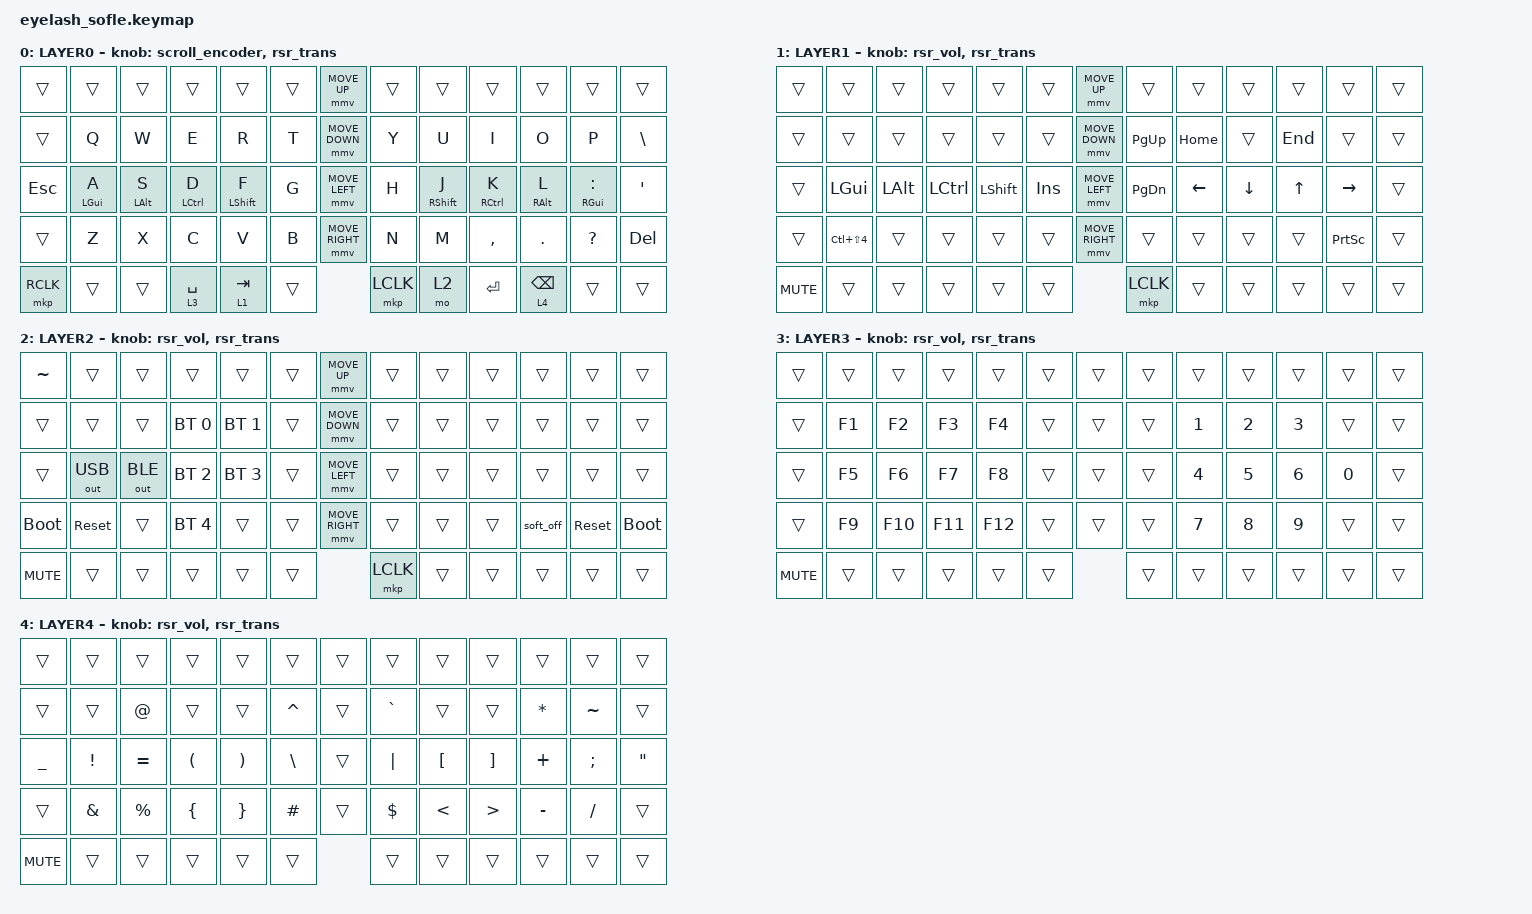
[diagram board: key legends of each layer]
#define ZMK_POINTING_DEFAULT_MOVE_VAL 1200  // 600
#define ZMK_POINTING_DEFAULT_SCRL_VAL 10   // 10

#include <input/processors.dtsi>
#include <zephyr/dt-bindings/input/input-event-codes.h>
#include <behaviors.dtsi>
#include <behaviors/runtime-sensor-rotate.dtsi>
#include <dt-bindings/zmk/bt.h>
#include <dt-bindings/zmk/keys.h>
#include <dt-bindings/zmk/outputs.h>
#include <dt-bindings/zmk/pointing.h>
#include <dt-bindings/zmk/rgb.h>

&mmv_input_listener { input-processors = <&zip_xy_scaler 2 1>; };

&msc_input_listener { input-processors = <&zip_scroll_scaler 1 1>; };

&msc {
    acceleration-exponent = <0>;      // 0
    time-to-max-speed-ms = <300>;       // 300
    delay-ms = <0>;                   // 0
};

&mmv {
    time-to-max-speed-ms = <500>;
    acceleration-exponent = <1>;
    trigger-period-ms = <16>;
};

&soft_off { hold-time-ms = <2000>; };

/ {
    scroll_encoder: scroll_encoder {
        compatible = "zmk,behavior-sensor-rotate";
        #sensor-binding-cells = <0>;
        bindings = <&msc SCRL_DOWN>, <&msc SCRL_UP>;

        tap-ms = <50>;
    };

    behaviors {
        rsr_vol: rsr_vol {
            compatible = "zmk,behavior-runtime-sensor-rotate";
            #sensor-binding-cells = <0>;
            tap-ms = <5>;
            cw-binding = <&kp C_VOL_UP>;
            ccw-binding = <&kp C_VOL_DN>;
        };

        rsr_trans: rsr_trans {
            compatible = "zmk,behavior-runtime-sensor-rotate";
            #sensor-binding-cells = <0>;
            tap-ms = <0>;
        };

        // Home row mods (GACS), positional. Left-hand keys only resolve as a
        // mod when a right-hand/thumb key is pressed, and vice versa.
        hml: home_row_mod_left {
            compatible = "zmk,behavior-hold-tap";
            #binding-cells = <2>;
            flavor = "balanced";
            tapping-term-ms = <200>;
            quick-tap-ms = <175>;
            require-prior-idle-ms = <150>;
            bindings = <&kp>, <&kp>;
            hold-trigger-on-release;
            hold-trigger-key-positions = <6 7 8 9 10 11 12 19 20 21 22 23 24 25 32 33 34 35 36 37 38 45 46 47 48 49 50 51 53 54 55 56 57 58 59 60 61 62 63>;
        };

        hmr: home_row_mod_right {
            compatible = "zmk,behavior-hold-tap";
            #binding-cells = <2>;
            flavor = "balanced";
            tapping-term-ms = <200>;
            quick-tap-ms = <175>;
            require-prior-idle-ms = <150>;
            bindings = <&kp>, <&kp>;
            hold-trigger-on-release;
            hold-trigger-key-positions = <0 1 2 3 4 5 6 13 14 15 16 17 18 19 26 27 28 29 30 31 32 39 40 41 42 43 44 45 53 54 55 56 57 58 59 60 61 62 63>;
        };

        // Layer-tap biased toward tapping, with quick-tap so repeated/held
        // taps auto-repeat (smooth backspace) instead of triggering the layer.
        lt_bspc: layer_tap_backspace {
            compatible = "zmk,behavior-hold-tap";
            #binding-cells = <2>;
            flavor = "tap-preferred";
            tapping-term-ms = <200>;
            quick-tap-ms = <200>;
            require-prior-idle-ms = <125>;
            bindings = <&mo>, <&kp>;
        };
    };

    combos {
        compatible = "zmk,combos";

        softoff {
            bindings = <&soft_off>;
            key-positions = <14 28 40>;
        };

        // Editing combos on the base layer (Z=40 X=41 C=42 V=43)
        combo_cut {
            bindings = <&kp LC(X)>;
            key-positions = <40 41>;   // Z + X
            timeout-ms = <50>;
            layers = <0>;
        };

        combo_copy {
            bindings = <&kp LC(C)>;
            key-positions = <41 42>;   // X + C
            timeout-ms = <50>;
            layers = <0>;
        };

        combo_paste {
            bindings = <&kp LC(V)>;
            key-positions = <42 43>;   // C + V
            timeout-ms = <50>;
            layers = <0>;
        };

        combo_select_all {
            bindings = <&kp LC(A)>;
            key-positions = <40 41 42 43>;   // Z + X + C + V
            timeout-ms = <60>;
            layers = <0>;
        };

        // Destructive BT keys as 3-key column combos (layer 2 only)
        combo_bt_clr {
            bindings = <&bt BT_CLR>;
            key-positions = <18 31 44>;   // T + G + B
            timeout-ms = <50>;
            layers = <2>;
        };

        combo_bt_clr_all {
            bindings = <&bt BT_CLR_ALL>;
            key-positions = <20 33 46>;   // Y + H + N
            timeout-ms = <50>;
            layers = <2>;
        };
    };

    macros {
        SHIFT_MCLK: SHIFT_MCLK {
            compatible = "zmk,behavior-macro";
            #binding-cells = <0>;
            bindings =
                <&macro_press>,
                <&kp LEFT_SHIFT>,
                <&macro_press>,
                <&mkp MB3>,
                <&macro_pause_for_release>,
                <&macro_release>,
                <&kp LEFT_SHIFT &mkp MB3>;

            label = "SHIFT_MCLK";
        };
    };

    keymap {
        compatible = "zmk,keymap";

        layer0 {
            bindings = <
&trans      &trans     &trans        &trans        &trans  &trans       &mmv MOVE_UP     &trans     &trans     &trans     &trans           &trans      &trans
&trans      &kp Q      &kp W         &kp E         &kp R   &kp T        &mmv MOVE_DOWN   &kp Y      &kp U      &kp I      &kp O            &kp P       &kp BSLH
&kp ESC     &hml LGUI A  &hml LALT S  &hml LCTRL D  &hml LSHFT F  &kp G   &mmv MOVE_LEFT   &kp H  &hmr RSHFT J  &hmr RCTRL K  &hmr RALT L  &hmr RGUI COLON  &kp APOS
&trans      &kp Z      &kp X         &kp C         &kp V   &kp B        &mmv MOVE_RIGHT  &kp N      &kp M      &kp COMMA  &kp DOT          &kp QMARK   &kp DELETE
&mkp RCLK   &trans     &trans        &lt 3 SPACE   &lt 1 TAB   &trans       &mkp LCLK        &mo 2  &kp ENTER  &lt_bspc 4 BACKSPACE  &trans           &trans
            >;

            sensor-bindings = <&scroll_encoder &rsr_trans>;
            display-name = "LAYER0";
        };

        layer_1 {
            bindings = <
&trans      &trans           &trans          &trans           &trans           &trans             &mmv MOVE_UP     &trans           &trans           &trans      &trans     &trans            &trans
&trans      &trans           &trans          &trans           &trans           &trans           &mmv MOVE_DOWN   &kp PG_UP        &kp HOME         &trans      &kp END    &trans            &trans
&trans      &kp LGUI         &kp LALT        &kp LCTRL        &kp LSHFT        &kp INSERT       &mmv MOVE_LEFT   &kp PG_DN        &kp LEFT         &kp DOWN    &kp UP     &kp RIGHT         &trans
&trans      &kp LC(LS(N4))   &trans          &trans           &trans           &trans    &mmv MOVE_RIGHT  &trans           &trans  &trans      &trans     &kp PSCRN        &trans
&kp C_MUTE  &trans           &trans          &trans           &trans           &trans             &mkp LCLK        &trans           &trans           &trans      &trans     &trans
            >;

            sensor-bindings = <&rsr_vol &rsr_trans>;
            display-name = "LAYER1";
        };

        layer_2 {
            bindings = <
&kp TILDE  &trans        &trans          &trans        &trans        &trans    &mmv MOVE_UP     &trans  &trans  &trans      &trans     &trans       &trans
&trans     &trans        &trans          &bt BT_SEL 0   &bt BT_SEL 1   &trans          &mmv MOVE_DOWN   &trans  &trans  &trans      &trans     &trans       &trans
&trans     &out OUT_USB  &out OUT_BLE    &bt BT_SEL 2   &bt BT_SEL 3   &trans          &mmv MOVE_LEFT   &trans  &trans  &trans      &trans     &trans       &trans
&bootloader &sys_reset   &trans          &bt BT_SEL 4  &trans        &trans          &mmv MOVE_RIGHT  &trans  &trans  &trans      &soft_off  &sys_reset   &bootloader
&kp C_MUTE &trans        &trans          &trans        &trans        &trans          &mkp LCLK        &trans  &trans  &trans      &trans     &trans
            >;

            display-name = "LAYER2";
            sensor-bindings = <&rsr_vol &rsr_trans>;
        };

        layer_3 {
            bindings = <
&trans  &trans  &trans  &trans  &trans  &trans    &trans  &trans  &trans  &trans  &trans  &trans  &trans
&trans  &kp F1  &kp F2  &kp F3  &kp F4  &trans    &trans  &trans  &kp N1  &kp N2  &kp N3  &trans  &trans
&trans  &kp F5  &kp F6  &kp F7  &kp F8  &trans    &trans  &trans  &kp N4  &kp N5  &kp N6  &kp N0  &trans
&trans  &kp F9  &kp F10  &kp F11  &kp F12  &trans    &trans  &trans  &kp N7  &kp N8  &kp N9  &trans  &trans
&kp C_MUTE  &trans  &trans  &trans  &trans  &trans    &trans  &trans  &trans  &trans  &trans  &trans
            >;

            display-name = "LAYER3";
            sensor-bindings = <&rsr_vol &rsr_trans>;
        };

        layer_4 {
            bindings = <
&trans     &trans     &trans     &trans     &trans     &trans       &trans     &trans     &trans     &trans     &trans     &trans     &trans
&trans     &trans     &kp AT     &trans     &trans     &kp CARET    &trans     &kp GRAVE  &trans     &trans     &kp ASTRK  &kp TILDE  &trans
&kp UNDER  &kp EXCL   &kp EQUAL  &kp LPAR   &kp RPAR   &kp BSLH     &trans     &kp PIPE   &kp LBKT   &kp RBKT   &kp PLUS   &kp SEMI   &kp DQT
&trans     &kp AMPS   &kp PRCNT  &kp LBRC   &kp RBRC   &kp HASH     &trans     &kp DLLR   &kp LT     &kp GT     &kp MINUS  &kp FSLH   &trans
&kp C_MUTE &trans     &trans     &trans     &trans     &trans       &trans     &trans     &trans     &trans     &trans     &trans
            >;

            display-name = "LAYER4";
            sensor-bindings = <&rsr_vol &rsr_trans>;
        };
    };
};
